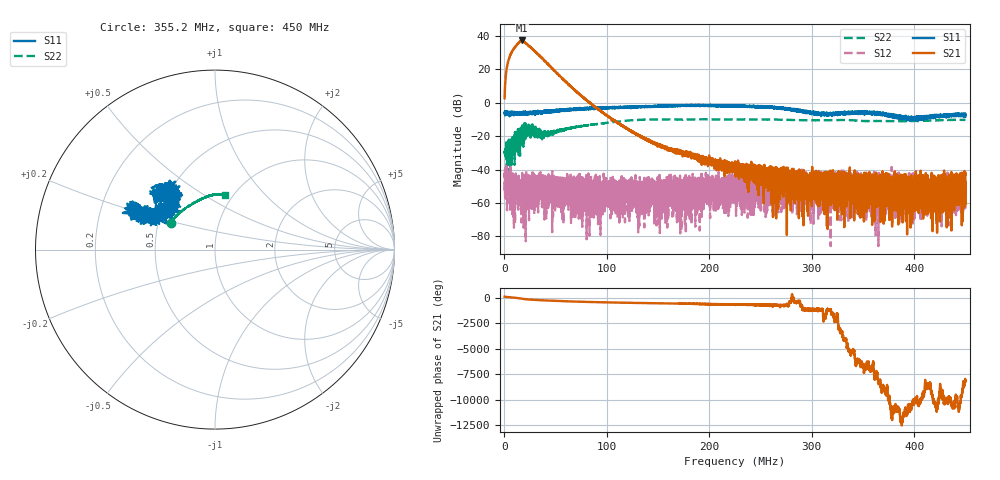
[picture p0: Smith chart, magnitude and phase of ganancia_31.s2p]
# Hz S DB R 50
! CMT, M5065, 19127446, 24.2.4/2
! Date: 12/3/2024 4:25:06 PM
! Data: Format (Calibration Info)
! Freq	S11:dB/Ang(F2)	S21:dB/Ang(F2)	S12:dB/Ang(F2)	S22:dB/Ang(F2)
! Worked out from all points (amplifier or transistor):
!   9000 points, 300 kHz to 450 MHz, reference 50 ohm
!   highest |S21| = 37.4 dB at 17.19 MHz (marker M1)
!   |S21| within 3 dB of that: 11.69 MHz to 23.49 MHz (11.8 MHz wide, 67.1 % of centre)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
!   unconditionally stable (mu >= 1): start of sweep to 21.33 MHz; 21.34 MHz to end of sweep
!   at 75.26 MHz: K = 49.67, MAG = 6.8 dB, |S12| = -49.3 dB
!   at 225.2 MHz: K = 7910.92, MAG = -29.8 dB, |S12| = -59.4 dB
!   at 450 MHz: K = 12803.95, MAG = -41.8 dB, |S12| = -47.6 dB
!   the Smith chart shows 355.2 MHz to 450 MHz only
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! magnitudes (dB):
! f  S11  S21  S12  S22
! 300 kHz  -6.3  2.8  -44.6  -30.3
! 3.098 MHz  -6.1  23.1  -46.8  -26.5
! 5.547 MHz  -6.4  28.2  -47.9  -30.6
! 17.19 MHz  -6.9  37.4  -51.1  -19.2
! 22.59 MHz  -5.9  34.9  -46.5  -17.0
! 39.03 MHz  -4.7  25.5  -45.8  -17.5
! 67.31 MHz  -3.9  8.5  -56.3  -14.8
! 75.26 MHz  -3.7  4.2  -49.3  -14.0
! 107.5 MHz  -3.1  -10.6  -52.5  -11.4
! 111.7 MHz  -3.0  -12.2  -56.9  -11.1
! 118.3 MHz  -2.5  -14.9  -47.0  -10.7
! 150.2 MHz  -1.9  -25.6  -72.5  -9.9
! 172 MHz  -1.5  -29.4  -53.2  -9.9
! 225.2 MHz  -1.8  -35.0  -59.4  -10.0
! 294.3 MHz  -6.3  -53.5  -62.1  -10.4
! 300.1 MHz  -6.0  -47.1  -41.2  -10.4
! 375.1 MHz  -7.6  -62.3  -50.3  -10.9
! 419 MHz  -7.5  -47.1  -59.4  -10.5
! 423.3 MHz  -7.6  -48.3  -48.4  -10.4
! 427.9 MHz  -7.6  -48.6  -52.7  -10.3
! 447.7 MHz  -7.5  -46.7  -65.5  -10.2
! 450 MHz  -8.1  -42.9  -47.6  -10.2
